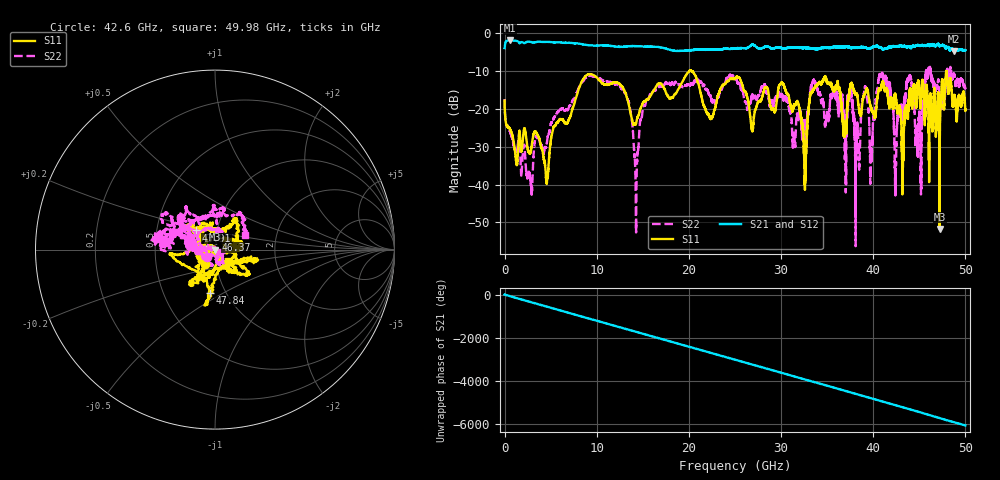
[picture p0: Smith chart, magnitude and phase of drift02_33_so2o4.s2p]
!Created with skrf (http://scikit-rf.org).
# Hz S RI R 50.0
!freq ReS11 ImS11 ReS21 ImS21 ReS12 ImS12 ReS22 ImS22
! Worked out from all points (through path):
!   10001 points, 300 kHz to 50 GHz, reference 50 ohm
!   highest |S21| = -1.99 dB at 590.3 MHz (marker M1); lowest = -4.9 dB at 48.77 GHz (marker M2)
!   group delay of S21, straight-line fit = 337 ps
!   lowest |S11| = -51.7 dB at 47.2 GHz (marker M3), VSWR 1.01, Z = 49.7 - j0.0362 ohm
!   |S11| at or under -10 dB: start of sweep to 20.06 GHz; 20.24 GHz to 47.91 GHz (27.67 GHz wide, 81.2 % of centre); 47.92 GHz to end of sweep (the widest 3 of 5)
!   |S22| runs from -56.3 to -8.9 dB; largest |S21 - S12| = 0.032
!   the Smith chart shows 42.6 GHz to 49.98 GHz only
!   S11 on the Smith chart (normalised r, x): 42.6 GHz: 0.89, -0.14; 43.91 GHz: 0.79, +0.17; 46.37 GHz: 1.00, +0.11; 47.84 GHz: 0.84, -0.43; 49.98 GHz: 1.15, -0.15
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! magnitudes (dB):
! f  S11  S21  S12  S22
! 300 kHz  -17.9  -4.0  -4.0  -17.5
! 590.3 MHz  -25.3  -2.0  -2.0  -26.1
! 4.565 GHz  -39.8  -2.4  -2.4  -29.4
! 8.335 GHz  -13.0  -2.9  -2.9  -13.2
! 13.01 GHz  -15.3  -3.7  -3.6  -15.7
! 14.28 GHz  -23.8  -3.5  -3.5  -47.5
! 16.67 GHz  -13.4  -3.7  -3.7  -14.5
! 25 GHz  -12.1  -4.1  -4.1  -12.1
! 30.18 GHz  -13.3  -4.1  -4.1  -16.8
! 32.57 GHz  -37.8  -3.9  -4.0  -23.8
! 33.34 GHz  -15.8  -4.1  -4.0  -13.7
! 38.29 GHz  -16.8  -3.9  -3.9  -24.6
! 41.67 GHz  -18.4  -3.8  -3.9  -12.9
! 42.6 GHz  -20.3  -3.5  -3.5  -23.9
! 43.91 GHz  -16.5  -3.5  -3.5  -11.9
! 44.99 GHz  -14.7  -3.4  -3.3  -21.8
! 46.37 GHz  -25.1  -3.1  -3.0  -12.0
! 47.2 GHz  -51.7  -3.4  -3.5  -16.5
! 47.84 GHz  -12.2  -4.1  -4.1  -13.9
! 48.77 GHz  -16.7  -4.9  -4.8  -10.8
! 49.98 GHz  -20.1  -4.6  -4.6  -14.6
! 50 GHz  -20.4  -4.6  -4.6  -14.9
